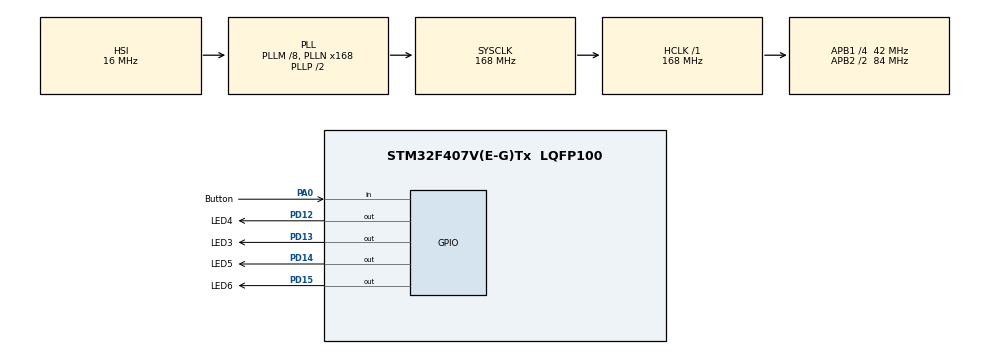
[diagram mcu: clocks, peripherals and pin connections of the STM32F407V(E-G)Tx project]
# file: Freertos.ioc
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Mcu.Family=STM32F4
Mcu.Name=STM32F407V(E-G)Tx
Mcu.Package=LQFP100
NVIC.PriorityGroup=NVIC_PRIORITYGROUP_4
PA0-WKUP.GPIO_Label=Button
PA0-WKUP.Signal=GPIO_Input
PD12.GPIO_Label=LED4
PD12.GPIO_Speed=GPIO_SPEED_FREQ_VERY_HIGH
PD12.Signal=GPIO_Output
PD13.GPIO_Label=LED3
PD13.GPIO_Speed=GPIO_SPEED_FREQ_VERY_HIGH
PD13.Signal=GPIO_Output
PD14.GPIO_Label=LED5
PD14.GPIO_Speed=GPIO_SPEED_FREQ_VERY_HIGH
PD14.Signal=GPIO_Output
PD15.GPIO_Label=LED6
PD15.GPIO_Speed=GPIO_SPEED_FREQ_VERY_HIGH
PD15.Signal=GPIO_Output
ProjectManager.HeapSize=0x200
ProjectManager.StackSize=0x400
ProjectManager.TargetToolchain=STM32CubeIDE
RCC.48MHZClocksFreq_Value=84000000
RCC.AHBFreq_Value=168000000
RCC.APB1CLKDivider=RCC_HCLK_DIV4
RCC.APB1Freq_Value=42000000
RCC.APB1TimFreq_Value=84000000
RCC.APB2CLKDivider=RCC_HCLK_DIV2
RCC.APB2Freq_Value=84000000
RCC.APB2TimFreq_Value=168000000
RCC.CortexFreq_Value=168000000
RCC.HCLKFreq_Value=168000000
RCC.HSE_VALUE=25000000
RCC.HSI_VALUE=16000000
RCC.LSE_VALUE=32768
RCC.PLLM=8
RCC.PLLN=168
RCC.SYSCLKFreq_VALUE=168000000
RCC.SYSCLKSource=RCC_SYSCLKSOURCE_PLLCLK
RCC.VCOOutputFreq_Value=336000000
board=custom

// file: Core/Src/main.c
/* USER CODE BEGIN Header */
/**
  ******************************************************************************
  * @file           : main.c
  * @brief          : Main program body
  ******************************************************************************
  * @attention
  *
  * <h2><center>&copy; Copyright (c) 2021 STMicroelectronics.
  * All rights reserved.</center></h2>
  *
  * This software component is licensed by ST under BSD 3-Clause license,
  * the "License"; You may not use this file except in compliance with the
  * License. You may obtain a copy of the License at:
  *                        opensource.org/licenses/BSD-3-Clause
  *
  ******************************************************************************
  */
/* USER CODE END Header */
#include "main.h"
#include "gpio.h"

/* USER CODE BEGIN Includes */
#include "FreeRTOS.h"
#include "task.h"
 #include "queue.h"
/* USER CODE END Includes */

/* USER CODE BEGIN PV */
 QueueHandle_t Test_Queue = NULL;

#define QUEUE_LEN 4 /* 队列的长度，最大可包含多少个消息 */
#define QUEUE_SIZE 4 /* 队列中每个消息大小（字节） */

//任务句柄
static TaskHandle_t AppTaskCreate_Handle;

static TaskHandle_t Send_Task_Handle = NULL;
static TaskHandle_t Receive_Task_Handle = NULL;

/* USER CODE END PV */

void SystemClock_Config(void);
/* USER CODE BEGIN PFP */
static void AppTaskCreate(void);/* 用于创建任务 */

static void Send_Task(void* pvParameters);/* Send_Task 任务实现 */
static void Receive_Task(void* pvParameters);/* Receive_Task 任务实现 */
static void Receive_Task2(void* parameter);
/* USER CODE END PFP */

int main(void)
{
  /* USER CODE BEGIN 1 */

	BaseType_t xReturn = pdPASS;/* 定义�?个创建信息返回�?�，默认�? pdPASS */

  /* USER CODE END 1 */

  /* MCU Configuration--------------------------------------------------------*/

  /* Reset of all peripherals, Initializes the Flash interface and the Systick. */
  HAL_Init();

  /* Configure the system clock */
  SystemClock_Config();

  /* Initialize all configured peripherals */
  MX_GPIO_Init();
  /* USER CODE BEGIN 2 */
//  while(1)
//  {
//	  if (HAL_GPIO_ReadPin(Button_GPIO_Port, Button_Pin) == GPIO_PIN_SET)
//	  {
//		  HAL_GPIO_WritePin(GPIOD, LED4_Pin, GPIO_PIN_SET);
//	  }
//	  else
//	  {
//		  HAL_GPIO_WritePin(GPIOD, LED4_Pin, GPIO_PIN_RESET);
//	  }
//  }

  xReturn = xTaskCreate((TaskFunction_t )AppTaskCreate,
                        (const char* )"AppTaskCreate",//任务名称
                        (uint32_t )128, //任务堆栈大小
                        (void* )NULL,//传�?�给任务函数的参�?
                        (UBaseType_t )1, //任务优先�?
						(TaskHandle_t* )&AppTaskCreate_Handle);

  if (pdPASS == xReturn)
	  vTaskStartScheduler(); /* 启动任务，开启调�? */
  else
	  return -1;
  /* USER CODE END 2 */

  /* Infinite loop */
  while (1)
  {

  }
}

void SystemClock_Config(void)
{
  RCC_OscInitTypeDef RCC_OscInitStruct = {0};
  RCC_ClkInitTypeDef RCC_ClkInitStruct = {0};

  /** Configure the main internal regulator output voltage
  */
  __HAL_RCC_PWR_CLK_ENABLE();
  __HAL_PWR_VOLTAGESCALING_CONFIG(PWR_REGULATOR_VOLTAGE_SCALE1);
  /** Initializes the RCC Oscillators according to the specified parameters
  * in the RCC_OscInitTypeDef structure.
  */
  RCC_OscInitStruct.OscillatorType = RCC_OSCILLATORTYPE_HSI;
  RCC_OscInitStruct.HSIState = RCC_HSI_ON;
  RCC_OscInitStruct.HSICalibrationValue = RCC_HSICALIBRATION_DEFAULT;
  RCC_OscInitStruct.PLL.PLLState = RCC_PLL_ON;
  RCC_OscInitStruct.PLL.PLLSource = RCC_PLLSOURCE_HSI;
  RCC_OscInitStruct.PLL.PLLM = 8;
  RCC_OscInitStruct.PLL.PLLN = 168;
  RCC_OscInitStruct.PLL.PLLP = RCC_PLLP_DIV2;
  RCC_OscInitStruct.PLL.PLLQ = 4;
  if (HAL_RCC_OscConfig(&RCC_OscInitStruct) != HAL_OK)
  {
    Error_Handler();
  }
  /** Initializes the CPU, AHB and APB buses clocks
  */
  RCC_ClkInitStruct.ClockType = RCC_CLOCKTYPE_HCLK|RCC_CLOCKTYPE_SYSCLK
                              |RCC_CLOCKTYPE_PCLK1|RCC_CLOCKTYPE_PCLK2;
  RCC_ClkInitStruct.SYSCLKSource = RCC_SYSCLKSOURCE_PLLCLK;
  RCC_ClkInitStruct.AHBCLKDivider = RCC_SYSCLK_DIV1;
  RCC_ClkInitStruct.APB1CLKDivider = RCC_HCLK_DIV4;
  RCC_ClkInitStruct.APB2CLKDivider = RCC_HCLK_DIV2;

  if (HAL_RCC_ClockConfig(&RCC_ClkInitStruct, FLASH_LATENCY_5) != HAL_OK)
  {
    Error_Handler();
  }
}

/* USER CODE BEGIN 4 */

static void AppTaskCreate(void)
{
	BaseType_t xReturn = pdPASS;/* 定义�?个创建信息返回�?�，默认�? pdPASS */

    taskENTER_CRITICAL(); //进入临界�?

    Test_Queue = xQueueCreate((UBaseType_t ) QUEUE_LEN,/* 消息队列的长度 */
    		(UBaseType_t ) QUEUE_SIZE);/* 消息的大小 */

    if (NULL == Test_Queue)
    	while(1);

    xReturn = xTaskCreate((TaskFunction_t )Receive_Task,/* 任务入口函数 */
							(const char* )"Receive_Task",/* 任务名字 */
    		(uint16_t )512, /* 任务栈大小 */
			(void* )NULL, /* 任务入口函数参数 */
			(UBaseType_t )3, /* 任务的优先级 */
			(TaskHandle_t* )&Receive_Task_Handle);/*任务控制块指针*/

    if (pdPASS != xReturn)
    	while(1);

    xReturn = xTaskCreate((TaskFunction_t )Receive_Task2,/* 任务入口函数 */
							(const char* )"Receive_Task2",/* 任务名字 */
			(uint16_t )512, /* 任务栈大小 */
			(void* )NULL, /* 任务入口函数参数 */
			(UBaseType_t )2, /* 任务的优先级 */
			(TaskHandle_t* )&Receive_Task_Handle);/*任务控制块指针*/

	if (pdPASS != xReturn)
		while(1);

    xReturn = xTaskCreate((TaskFunction_t )Send_Task,/* 任务入口函数 */
							(const char* )"Receive_Task",/* 任务名字 */
    		(uint16_t )512, /* 任务栈大小 */
			(void* )NULL, /* 任务入口函数参数 */
			(UBaseType_t )4, /* 任务的优先级 */
			(TaskHandle_t* )&Send_Task_Handle);/*任务控制块指针*/

    if (pdPASS != xReturn)
        	while(1);

    vTaskDelete(AppTaskCreate_Handle); //删除 AppTaskCreate 任务

    taskEXIT_CRITICAL(); //�?出临界区
}

static void Send_Task(void* parameter)
{
	BaseType_t xReturn = pdPASS;/* 定义一个创建信息返回值，默认为 pdPASS */
	uint32_t send_data1 = 1;
	uint32_t send_data2 = 2;

	while (1)
	{
		if (HAL_GPIO_ReadPin(Button_GPIO_Port, Button_Pin) == GPIO_PIN_SET)
		{
			xReturn = xQueueSend( Test_Queue,&send_data1, 0);
		}
		else
		{
			xReturn = xQueueSend( Test_Queue,&send_data2, 0);
		}

		vTaskDelay(20);/* 延时 20 个 tick */

	}
}

static void Receive_Task(void* parameter)
{
	BaseType_t xReturn = pdTRUE;/* 定义一个创建信息返回值，默认为 pdTRUE */
	uint32_t r_queue; /* 定义一个接收消息的变量 */

	while (1)
	{
		xReturn = xQueueReceive( Test_Queue, /* 消息队列的句柄 */
								&r_queue, /* 接受的消息内容 */
								portMAX_DELAY); /* 等待时间 一直等 */

		if (xReturn == pdTRUE)
		{
			if (r_queue == 1)
			{
				HAL_GPIO_WritePin(GPIOD, LED4_Pin, GPIO_PIN_SET);
			}
			else
			{
				HAL_GPIO_WritePin(GPIOD, LED4_Pin, GPIO_PIN_RESET);
			}
		}
	}
}

static void Receive_Task2(void* parameter)
{
	BaseType_t xReturn = pdTRUE;/* 定义一个创建信息返回值，默认为 pdTRUE */
	uint32_t r_queue; /* 定义一个接收消息的变量 */

	while (1)
	{
		xReturn = xQueueReceive( Test_Queue, /* 消息队列的句柄 */
								&r_queue, /* 接受的消息内容 */
								portMAX_DELAY); /* 等待时间 一直等 */

		if (xReturn == pdTRUE)
		{
			if (r_queue == 1)
			{
				HAL_GPIO_WritePin(GPIOD, LED5_Pin, GPIO_PIN_SET);
			}
			else
			{
				HAL_GPIO_WritePin(GPIOD, LED5_Pin, GPIO_PIN_RESET);
			}
		}
	}
}

/* USER CODE END 4 */

void Error_Handler(void)
{
  __disable_irq();
  while (1)
  {
  }
}

/************************ (C) COPYRIGHT STMicroelectronics *****END OF FILE****/
